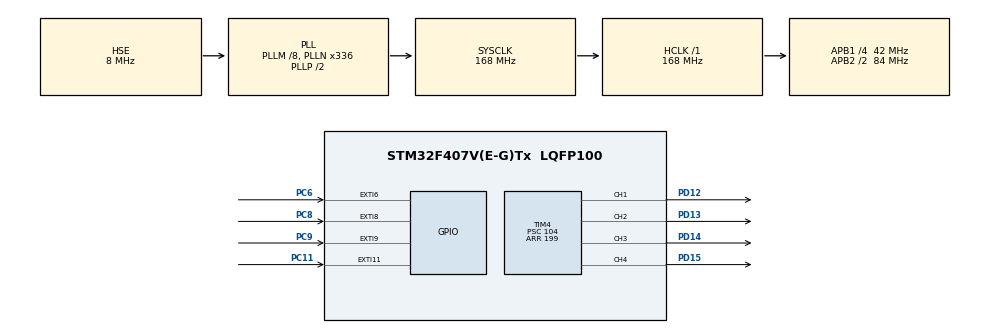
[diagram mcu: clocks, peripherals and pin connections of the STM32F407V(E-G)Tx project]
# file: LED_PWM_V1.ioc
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Mcu.Family=STM32F4
Mcu.Name=STM32F407V(E-G)Tx
Mcu.Package=LQFP100
NVIC.EXTI15_10_IRQn=true\:0\:0\:false\:false\:true\:true\:true\:true
NVIC.EXTI9_5_IRQn=true\:0\:0\:false\:false\:true\:true\:true\:true
NVIC.PriorityGroup=NVIC_PRIORITYGROUP_4
PC11.Signal=GPXTI11
PC6.Signal=GPXTI6
PC8.Signal=GPXTI8
PC9.Signal=GPXTI9
PD12.Signal=S_TIM4_CH1
PD13.Signal=S_TIM4_CH2
PD14.Signal=S_TIM4_CH3
PD15.Signal=S_TIM4_CH4
PH0-OSC_IN.Mode=HSE-External-Oscillator
PH0-OSC_IN.Signal=RCC_OSC_IN
PH1-OSC_OUT.Mode=HSE-External-Oscillator
PH1-OSC_OUT.Signal=RCC_OSC_OUT
ProjectManager.HeapSize=0x200
ProjectManager.StackSize=0x400
ProjectManager.TargetToolchain=STM32CubeIDE
RCC.48MHZClocksFreq_Value=84000000
RCC.AHBFreq_Value=168000000
RCC.APB1CLKDivider=RCC_HCLK_DIV4
RCC.APB1Freq_Value=42000000
RCC.APB1TimFreq_Value=84000000
RCC.APB2CLKDivider=RCC_HCLK_DIV2
RCC.APB2Freq_Value=84000000
RCC.APB2TimFreq_Value=168000000
RCC.CortexFreq_Value=168000000
RCC.HCLKFreq_Value=168000000
RCC.HSE_VALUE=8000000
RCC.HSI_VALUE=16000000
RCC.LSE_VALUE=32768
RCC.PLLM=8
RCC.PLLN=336
RCC.PLLSourceVirtual=RCC_PLLSOURCE_HSE
RCC.SYSCLKFreq_VALUE=168000000
RCC.SYSCLKSource=RCC_SYSCLKSOURCE_PLLCLK
RCC.VCOOutputFreq_Value=336000000
SH.S_TIM4_CH1.0=TIM4_CH1,PWM Generation1 CH1
SH.S_TIM4_CH2.0=TIM4_CH2,PWM Generation2 CH2
SH.S_TIM4_CH3.0=TIM4_CH3,PWM Generation3 CH3
SH.S_TIM4_CH4.0=TIM4_CH4,PWM Generation4 CH4
TIM4.Channel-PWM\ Generation1\ CH1=TIM_CHANNEL_1
TIM4.Channel-PWM\ Generation2\ CH2=TIM_CHANNEL_2
TIM4.Channel-PWM\ Generation3\ CH3=TIM_CHANNEL_3
TIM4.Channel-PWM\ Generation4\ CH4=TIM_CHANNEL_4
TIM4.Period=199
TIM4.Prescaler=104
VP_TIM4_VS_ClockSourceINT.Mode=Internal
board=custom

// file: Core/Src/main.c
/* USER CODE BEGIN Header */
/**
  ******************************************************************************
  * @file           : main.c
  * @brief          : Main program body
  ******************************************************************************
  * @attention
  *
  * Copyright (c) 2025 STMicroelectronics.
  * All rights reserved.
  *
  * This software is licensed under terms that can be found in the LICENSE file
  * in the root directory of this software component.
  * If no LICENSE file comes with this software, it is provided AS-IS.
  *
  ******************************************************************************
  */
/* USER CODE END Header */
#include "main.h"

TIM_HandleTypeDef htim4;

/* USER CODE BEGIN PV */

int LED_Green_DutyCycle_Idx = LED_DutyCycle_Initial;
int LED_Blue_DutyCycle_Idx = LED_DutyCycle_Initial;
int LED_Red_DutyCycle_Idx = LED_DutyCycle_Initial;
int LED_Orange_DutyCycle_Idx = LED_DutyCycle_Initial;

/* int LED_DutyCycle[] Array defines predefined Duty Cycles, 20% increments */
int LED_DutyCycle[LED_DutyCycle_MAX] = {0, 40, 80, 120, 160, 200};

/* USER CODE END PV */

void SystemClock_Config(void);
static void MX_GPIO_Init(void);
static void MX_TIM4_Init(void);

int main(void)
{

  /* MCU Configuration--------------------------------------------------------*/

  /* Reset of all peripherals, Initializes the Flash interface and the Systick. */
  HAL_Init();

  /* Configure the system clock */
  SystemClock_Config();

  /* Initialize all configured peripherals */
  MX_GPIO_Init();
  MX_TIM4_Init();
  /* USER CODE BEGIN 2 */
  /* Start all TIM4 timer channels for LEDs */
  HAL_TIM_PWM_Start_IT(&htim4, TIM_CHANNEL_1);
  HAL_TIM_PWM_Start_IT(&htim4, TIM_CHANNEL_2);
  HAL_TIM_PWM_Start_IT(&htim4, TIM_CHANNEL_3);
  HAL_TIM_PWM_Start_IT(&htim4, TIM_CHANNEL_4);

  /* Initialize all TIM4 timer channels for LEDs */
  __HAL_TIM_SET_COMPARE(&htim4, TIM_CHANNEL_1, LED_DutyCycle[LED_Green_DutyCycle_Idx]);
  __HAL_TIM_SET_COMPARE(&htim4, TIM_CHANNEL_2, LED_DutyCycle[LED_Blue_DutyCycle_Idx]);
  __HAL_TIM_SET_COMPARE(&htim4, TIM_CHANNEL_3, LED_DutyCycle[LED_Red_DutyCycle_Idx]);
  __HAL_TIM_SET_COMPARE(&htim4, TIM_CHANNEL_4, LED_DutyCycle[LED_Orange_DutyCycle_Idx]);

  /* USER CODE END 2 */

  /* Infinite loop */
  while (1)
  {

    /* USER CODE BEGIN 3 */
    HAL_Delay(500);
  }
  /* USER CODE END 3 */
}

void SystemClock_Config(void)
{
  RCC_OscInitTypeDef RCC_OscInitStruct = {0};
  RCC_ClkInitTypeDef RCC_ClkInitStruct = {0};

  /** Configure the main internal regulator output voltage
  */
  __HAL_RCC_PWR_CLK_ENABLE();
  __HAL_PWR_VOLTAGESCALING_CONFIG(PWR_REGULATOR_VOLTAGE_SCALE1);

  /** Initializes the RCC Oscillators according to the specified parameters
  * in the RCC_OscInitTypeDef structure.
  */
  RCC_OscInitStruct.OscillatorType = RCC_OSCILLATORTYPE_HSE;
  RCC_OscInitStruct.HSEState = RCC_HSE_ON;
  RCC_OscInitStruct.PLL.PLLState = RCC_PLL_ON;
  RCC_OscInitStruct.PLL.PLLSource = RCC_PLLSOURCE_HSE;
  RCC_OscInitStruct.PLL.PLLM = 8;
  RCC_OscInitStruct.PLL.PLLN = 336;
  RCC_OscInitStruct.PLL.PLLP = RCC_PLLP_DIV2;
  RCC_OscInitStruct.PLL.PLLQ = 4;
  if (HAL_RCC_OscConfig(&RCC_OscInitStruct) != HAL_OK)
  {
    Error_Handler();
  }

  /** Initializes the CPU, AHB and APB buses clocks
  */
  RCC_ClkInitStruct.ClockType = RCC_CLOCKTYPE_HCLK|RCC_CLOCKTYPE_SYSCLK
                              |RCC_CLOCKTYPE_PCLK1|RCC_CLOCKTYPE_PCLK2;
  RCC_ClkInitStruct.SYSCLKSource = RCC_SYSCLKSOURCE_PLLCLK;
  RCC_ClkInitStruct.AHBCLKDivider = RCC_SYSCLK_DIV1;
  RCC_ClkInitStruct.APB1CLKDivider = RCC_HCLK_DIV4;
  RCC_ClkInitStruct.APB2CLKDivider = RCC_HCLK_DIV2;

  if (HAL_RCC_ClockConfig(&RCC_ClkInitStruct, FLASH_LATENCY_5) != HAL_OK)
  {
    Error_Handler();
  }
}

static void MX_TIM4_Init(void)
{

  TIM_ClockConfigTypeDef sClockSourceConfig = {0};
  TIM_MasterConfigTypeDef sMasterConfig = {0};
  TIM_OC_InitTypeDef sConfigOC = {0};

  htim4.Instance = TIM4;
  htim4.Init.Prescaler = 104;
  htim4.Init.CounterMode = TIM_COUNTERMODE_UP;
  htim4.Init.Period = 199;
  htim4.Init.ClockDivision = TIM_CLOCKDIVISION_DIV1;
  htim4.Init.AutoReloadPreload = TIM_AUTORELOAD_PRELOAD_DISABLE;
  if (HAL_TIM_Base_Init(&htim4) != HAL_OK)
  {
    Error_Handler();
  }
  sClockSourceConfig.ClockSource = TIM_CLOCKSOURCE_INTERNAL;
  if (HAL_TIM_ConfigClockSource(&htim4, &sClockSourceConfig) != HAL_OK)
  {
    Error_Handler();
  }
  if (HAL_TIM_PWM_Init(&htim4) != HAL_OK)
  {
    Error_Handler();
  }
  sMasterConfig.MasterOutputTrigger = TIM_TRGO_RESET;
  sMasterConfig.MasterSlaveMode = TIM_MASTERSLAVEMODE_DISABLE;
  if (HAL_TIMEx_MasterConfigSynchronization(&htim4, &sMasterConfig) != HAL_OK)
  {
    Error_Handler();
  }
  sConfigOC.OCMode = TIM_OCMODE_PWM1;
  sConfigOC.Pulse = 0;
  sConfigOC.OCPolarity = TIM_OCPOLARITY_HIGH;
  sConfigOC.OCFastMode = TIM_OCFAST_DISABLE;
  if (HAL_TIM_PWM_ConfigChannel(&htim4, &sConfigOC, TIM_CHANNEL_1) != HAL_OK)
  {
    Error_Handler();
  }
  if (HAL_TIM_PWM_ConfigChannel(&htim4, &sConfigOC, TIM_CHANNEL_2) != HAL_OK)
  {
    Error_Handler();
  }
  if (HAL_TIM_PWM_ConfigChannel(&htim4, &sConfigOC, TIM_CHANNEL_3) != HAL_OK)
  {
    Error_Handler();
  }
  if (HAL_TIM_PWM_ConfigChannel(&htim4, &sConfigOC, TIM_CHANNEL_4) != HAL_OK)
  {
    Error_Handler();
  }
  HAL_TIM_MspPostInit(&htim4);

}

static void MX_GPIO_Init(void)
{
  GPIO_InitTypeDef GPIO_InitStruct = {0};

  /* GPIO Ports Clock Enable */
  __HAL_RCC_GPIOH_CLK_ENABLE();
  __HAL_RCC_GPIOD_CLK_ENABLE();
  __HAL_RCC_GPIOC_CLK_ENABLE();

  /*Configure GPIO pins : PC6 PC8 PC9 PC11 */
  GPIO_InitStruct.Pin = GPIO_PIN_6|GPIO_PIN_8|GPIO_PIN_9|GPIO_PIN_11;
  GPIO_InitStruct.Mode = GPIO_MODE_IT_RISING;
  GPIO_InitStruct.Pull = GPIO_NOPULL;
  HAL_GPIO_Init(GPIOC, &GPIO_InitStruct);

  /* EXTI interrupt init*/
  HAL_NVIC_SetPriority(EXTI9_5_IRQn, 0, 0);
  HAL_NVIC_EnableIRQ(EXTI9_5_IRQn);

  HAL_NVIC_SetPriority(EXTI15_10_IRQn, 0, 0);
  HAL_NVIC_EnableIRQ(EXTI15_10_IRQn);

}

/* USER CODE BEGIN 4 */
void HAL_GPIO_EXTI_Callback(uint16_t GPIO_Pin)
{
	if(GPIO_Pin == LED_Green_PIN) {
		LED_Green_DutyCycle_Idx = (LED_Green_DutyCycle_Idx + 1) % LED_DutyCycle_MAX;
		__HAL_TIM_SET_COMPARE(&htim4, TIM_CHANNEL_1, LED_DutyCycle[LED_Green_DutyCycle_Idx]);
	}
	if(GPIO_Pin == LED_Blue_PIN){
		LED_Blue_DutyCycle_Idx = (LED_Blue_DutyCycle_Idx + 1) % LED_DutyCycle_MAX;
		__HAL_TIM_SET_COMPARE(&htim4, TIM_CHANNEL_2, LED_DutyCycle[LED_Blue_DutyCycle_Idx]);
	}
	if(GPIO_Pin == LED_Red_PIN){
		LED_Red_DutyCycle_Idx = (LED_Red_DutyCycle_Idx + 1) % LED_DutyCycle_MAX;
		__HAL_TIM_SET_COMPARE(&htim4, TIM_CHANNEL_3, LED_DutyCycle[LED_Red_DutyCycle_Idx]);
	}
	if(GPIO_Pin == LED_Orange_PIN){
		LED_Orange_DutyCycle_Idx = (LED_Orange_DutyCycle_Idx + 1) % LED_DutyCycle_MAX;
		__HAL_TIM_SET_COMPARE(&htim4, TIM_CHANNEL_4, LED_DutyCycle[LED_Orange_DutyCycle_Idx]);
	}
}
/* USER CODE END 4 */

void Error_Handler(void)
{
  __disable_irq();
  while (1)
  {
  }
}
